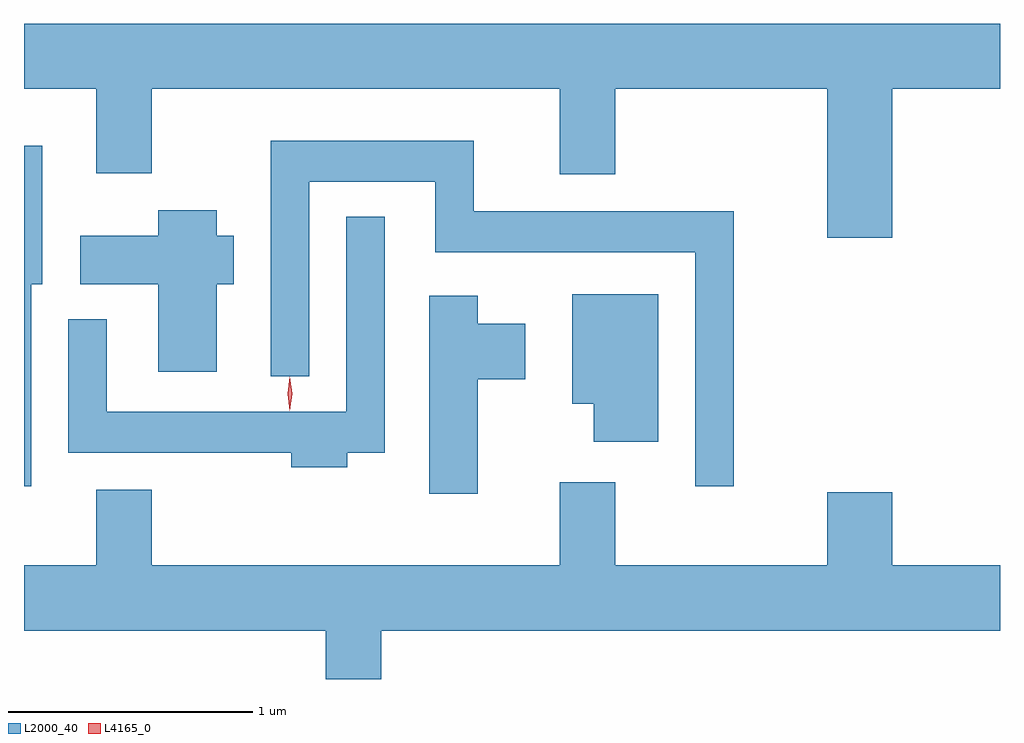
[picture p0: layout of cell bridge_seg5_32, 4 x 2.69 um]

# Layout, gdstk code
import gdstk
lib = gdstk.Library(unit=1e-6, precision=1e-09)
def P(c, l, *ps):  # polygons
    for p in ps: c.add(gdstk.Polygon(p, *l))
L2000_40 = (2000, 40)
L4165_0 = (4165, 0)

bridge_seg5_32 = lib.new_cell('bridge_seg5_32')
P(bridge_seg5_32, L2000_40, [(1334.224,1470.116),(1334.665,1470.116),(1334.665,1470.384),(1330.665,1470.384),(1330.665,1470.116),(1330.961,1470.116),(1330.961,1469.771),(1331.189,1469.771),(1331.189,1470.116),(1332.861,1470.116),(1332.861,1469.766),(1333.089,1469.766),(1333.089,1470.116),(1333.956,1470.116),(1333.956,1469.506),(1334.224,1469.506)],
  [(1333.574,1469.614),(1332.509,1469.614),(1332.509,1469.904),(1331.676,1469.904),(1331.676,1468.938),(1331.834,1468.938),(1331.834,1469.736),(1332.351,1469.736),(1332.351,1469.446),(1333.416,1469.446),(1333.416,1468.488),(1333.574,1468.488)],
  [(1330.694,1469.316),(1330.739,1469.316),(1330.739,1469.884),(1330.665,1469.884),(1330.665,1468.488),(1330.694,1468.488)],
  [(1331.454,1469.316),(1331.524,1469.316),(1331.524,1469.514),(1331.454,1469.514),(1331.454,1469.619),(1331.216,1469.619),(1331.216,1469.514),(1330.896,1469.514),(1330.896,1469.316),(1331.216,1469.316),(1331.216,1468.956),(1331.454,1468.956)],
  [(1331.989,1468.626),(1332.144,1468.626),(1332.144,1469.593),(1331.986,1469.593),(1331.986,1468.794),(1331.004,1468.794),(1331.004,1469.173),(1330.846,1469.173),(1330.846,1468.626),(1331.761,1468.626),(1331.761,1468.566),(1331.989,1468.566)],
  [(1333.264,1469.274),(1332.911,1469.274),(1332.911,1468.826),(1333.001,1468.826),(1333.001,1468.671),(1333.264,1468.671)],
  [(1332.524,1468.926),(1332.719,1468.926),(1332.719,1469.154),(1332.524,1469.154),(1332.524,1469.269),(1332.326,1469.269),(1332.326,1468.456),(1332.524,1468.456)],
  [(1332.129,1467.896),(1334.665,1467.896),(1334.665,1468.164),(1334.224,1468.164),(1334.224,1468.464),(1333.956,1468.464),(1333.956,1468.164),(1333.089,1468.164),(1333.089,1468.504),(1332.861,1468.504),(1332.861,1468.164),(1331.189,1468.164),(1331.189,1468.474),(1330.961,1468.474),(1330.961,1468.164),(1330.665,1468.164),(1330.665,1467.896),(1331.901,1467.896),(1331.901,1467.696),(1332.129,1467.696)])
P(bridge_seg5_32, L4165_0, [(1331.755,1468.797),(1331.754,1468.798),(1331.745,1468.866),(1331.754,1468.936),(1331.755,1468.936),(1331.755,1468.936),(1331.765,1468.866),(1331.755,1468.798)],
  [(1331.755,1468.799),(1331.754,1468.8),(1331.745,1468.866),(1331.754,1468.932),(1331.755,1468.933),(1331.755,1468.932),(1331.765,1468.866),(1331.755,1468.8)])

lib.write_gds('bridge_seg5_32.gds')
